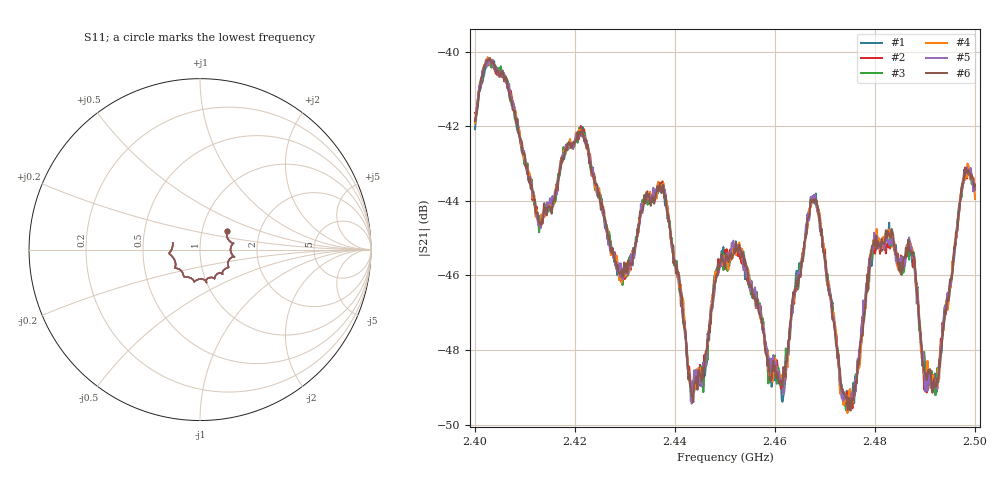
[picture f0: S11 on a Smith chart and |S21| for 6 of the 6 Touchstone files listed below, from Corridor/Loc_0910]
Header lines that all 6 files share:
# Hz S RI R
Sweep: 2.4 GHz to 2.5 GHz
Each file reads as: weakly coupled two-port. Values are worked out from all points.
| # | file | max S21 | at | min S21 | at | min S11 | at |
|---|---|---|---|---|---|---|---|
| 1 | Lab_139_3Ch1.s2p | -40.16 dB | 2.403 GHz | -49.6 dB | 2.4748 GHz | -15.9 dB | 2.4895 GHz |
| 2 | Lab_139_5Ch1.s2p | -40.17 dB | 2.4027 GHz | -49.6 dB | 2.4752 GHz | -15.9 dB | 2.4898 GHz |
| 3 | Lab_139_6Ch1.s2p | -40.17 dB | 2.4027 GHz | -49.6 dB | 2.4743 GHz | -15.9 dB | 2.4895 GHz |
| 4 | Lab_139_7Ch1.s2p | -40.15 dB | 2.4025 GHz | -49.7 dB | 2.4745 GHz | -15.9 dB | 2.4895 GHz |
| 5 | Lab_139_9Ch1.s2p | -40.20 dB | 2.403 GHz | -49.6 dB | 2.4752 GHz | -15.9 dB | 2.4897 GHz |
| 6 | Lab_139_10Ch1.s2p | -40.19 dB | 2.403 GHz | -49.6 dB | 2.475 GHz | -15.9 dB | 2.4895 GHz |
